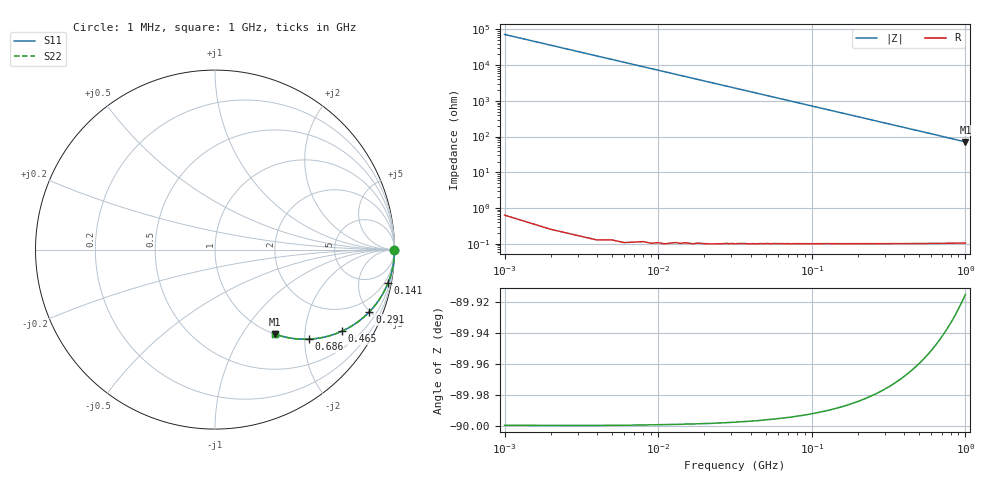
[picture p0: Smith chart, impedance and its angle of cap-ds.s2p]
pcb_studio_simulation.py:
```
# Copyright 1998-2023 Dassault Systemes Deutschland GmbH.

"""
**End-to-End example - Simulate a PCB with PCB Studio**
    - script access to PCB Studio (:mod:`cst.interface`)
    - importing a PCB design (using :mod:`cst.eda.pcb_api`)
    - setting up the part library (:mod:`cst.eda.part_library`):
        - R,L,C: standard + SPICE + Touchstone
    - automatic report generation (:mod:`cst.results`)

Note: Not included yet: manipulate PCB Studio solver settings and run solver
"""

import os
from os.path import join, dirname, abspath, exists

datadir = join( dirname(abspath(__file__)), 'data' )


def import_design(outdir, name):
    from cst.eda.pcb_api import PCB

    assert exists(outdir)

    # import design:
    design = join( datadir, name)
    ldb_file = join(outdir, 'ldb.ldb')
    pcb = PCB.convert_from(design, cad_type='simlab', ldb_file=ldb_file)

    return pcb


def create_part_library():
    from cst.eda.part_library import PartLibrary, to_number
    plb = PartLibrary()

    mu = b'\xc2\xb5'.decode('utf-8') # using greek mu works as well

    # add standard Cs
    for name, val in [
        ( "CAP",            "1u"    ),
        ( "PCAP,100UF",     "100U"  ),
        ( "PCAP,3.3UF",     "3.3U"  ),
        ( "CAP,.1UF",       ".1"+mu ),
        ]:
        val = to_number(val)
        plb.add_RLC(name, type='C', C=val, R=0, L=0)

    # add standard Rs
    for name, val in [
        ( "RES_9",          9       ),
        ( "RES_100K",       100e3   ),
        ( "RES_0.294",      0.294   ),
        ( "RES_20K",        '20k'   ),
        ( "RES_28K",        '28k'   ),
        ( "RES_100K",       '100k'  ),
        ( "RES_150",        150     ),
        ( "RES_20K",        20e3    ),
    ]:
        val = to_number(val)
        plb.add_RLC(name, type='R', R=val, C=0, L=0)

    # add standard Ls
    # ...

    # SPICE
    plb.add_RLC_SPICE( 'SPICE_Cap', 'C', join(datadir, 'spice_cap.cir'))

    # Touchstone
    plb.add_RLC_Touchstone( 'Touchstone_Cap', 'C', join(datadir, 'cap-ds.s2p'))

    return plb


def get_bom():
    bom = [
        ("C1", "CAP"),
        ("C2", "PCAP,100UF"),
        ("C3", "PCAP,3.3UF"),
        ("C4", "CAP,.1UF"),
        ("R1", "RES_9"),
        ("R2", "RES_100K"),
        ("R3", "RES_0.294"),
        ("R4", "RES_20K"),
        ("R5", "RES_28K"),
        ("R6", "RES_100K"),
        ("R7", "RES_150"),
        ("R8", "RES_20K"),
    ]
    return dict(bom)


def post_process(cstfile):
    assert exists(cstfile)

    from cst.results import ProjectFile
    pp = ProjectFile(cstfile, allow_interactive=True)
    sch = pp.get_schematic()
    results = {}

    for item in sch.get_tree_items():
        if item.startswith('Blocks\\PCBSSCHEM1\\Impedances'):
            i = sch.get_result_item(item)
            results[item] = i

    return results


def main(outdir):

    if not exists(outdir):
        os.makedirs(outdir)

    pcb = import_design(outdir, 'workflow.dar')

    plb = create_part_library()

    # normally BOM comes with layout, but here we specify explicitly
    bom = get_bom()

    # if simulation does not exist, create and run it:
    cstfile = join( outdir, 'sim.cst')
    if not exists(cstfile):

        # define solver settings
        from cst.eda.pcbs.pi_solver_settings import PISolverSettings, PIPort, Length
        ss = PISolverSettings()
        ss.ports.append(PIPort(comp='C3', pin1='2', pin2='1'))
        ss.ports.append(PIPort('U3', pin1='7')) # auto-find pin2='14' in PCBS!
        ss.voltage_reference_layers = ['LYR_2']
        ss.generate_plots = True
        ss.maximum_mesh_step = Length(1, 'mm')

        # CST simulation part:
        from cst.interface import DesignEnvironment
        de = DesignEnvironment()
        prj = de.new_pcbs()
        pcbs = prj.pcbs

        pcbs.set_pcb(pcb)
        pcbs.set_part_library(plb)
        pcbs.set_bom(bom)

        prj.save(cstfile)

        # transfer solver settings and run solver
        pcbs.set_pi_solver_settings(ss)
        pcbs.run_solver('pi')

        prj.save(cstfile)

        de.close()


    results = post_process(cstfile)

    print('-'*80)
    print(f"Stored PCBS simulation in outdir={outdir}")
    if results:
        print("Results:")
        for item in results:
            print(f"\t{item}")
    else:
        print("No results computed: Manual step still needed at point (*) in script.")
    print('-'*80)

    return cstfile, results


if __name__=='__main__':
    import tempfile
    outdir = tempfile.mkdtemp(prefix='output_CST_')
    cstfile, results = main(outdir=outdir)
```
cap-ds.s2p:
! TOUCHSTONE file generated by CST DESIGN STUDIO
! Date and time: Tue Feb 27 15:32:51 2018
! Project name:  Project name: U:\2019-testing\PCBS-part-import\AcceptanceTest\cap-ds.cst
! Tree item: Tasks\SPara1\S-Parameters
! Header version: 2018
! Port assignment regex: !\s*Touchstone port\s*([0-9]+)\s*=\s*(CST MWS port|CST DS port)\s*([0-9]+)\s*\(\"(.*)\"\)(\s*mode\s*([0-9]+))?.*
! Touchstone port assignment:
! Touchstone port 1 = CST DS port 1 ("")
! Touchstone port 2 = CST DS port 2 ("")
# GHz S MA R 50
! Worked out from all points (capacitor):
!   1000 points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, 1 MHz to 1 GHz, reference 50 ohm
!   read as one part in series: C = 2.2 pF near 6 MHz
!   lowest |Z| = 70.9 ohm at 1 GHz (marker M1)
!   S11 on the Smith chart (normalised r, x): 1 MHz: open; 141 MHz: 1, -10; 291 MHz: 1.00, -4.96; 465 MHz: 1.00, -3.10; 686 MHz: 1.00, -2.09; 1 GHz: 1.00, -1.42
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0.001  1 -0.1  0.001382 89.9  0.001382 89.9  1 -0.1
0.008  0.9999 -0.6  0.01106 89.4  0.01106 89.4  0.9999 -0.6
0.012  0.9999 -1.0  0.01659 89.0  0.01659 89.0  0.9999 -1.0
0.033  0.999 -2.6  0.04557 87.4  0.04557 87.4  0.999 -2.6
0.074  0.9948 -5.8  0.1018 84.2  0.1018 84.2  0.9948 -5.8
0.141  0.9815 -11.0  0.1914 79.0  0.1914 79.0  0.9815 -11.0
0.291  0.9274 -21.9  0.3737 68.0  0.3737 68.0  0.9274 -21.9
0.465  0.8399 -32.8  0.5422 57.1  0.5422 57.1  0.8399 -32.8
0.501  0.8205 -34.8  0.5711 55.1  0.5711 55.1  0.8205 -34.8
0.686  0.722 -43.7  0.6912 46.2  0.6912 46.2  0.722 -43.7
1  0.5779 -54.6  0.8152 35.3  0.8152 35.3  0.5779 -54.6
